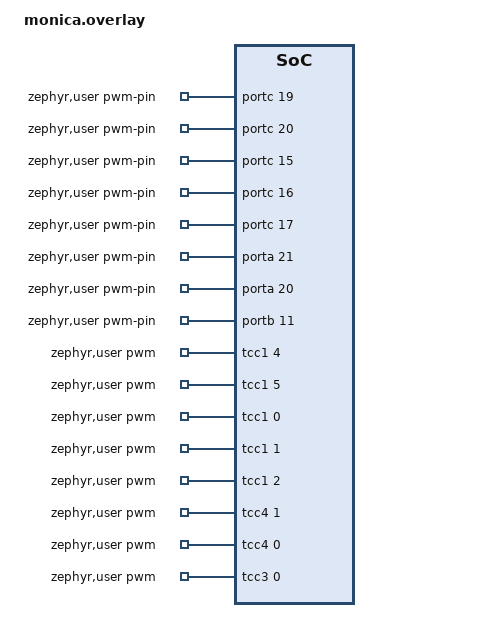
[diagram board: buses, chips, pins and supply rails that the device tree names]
/*
 * Copyright (c) 2026 Arduino SA
 *
 * SPDX-License-Identifier: Apache-2.0
 */

/*
 * Nano Chandler "Monica" carrier - devicetree delta.
 *
 * Monica is not a Zephyr board variant: it is the plain arduino_nano_chandler
 * board plus the "nano_chandler_monica" shield. Zephyr applies overlays in the
 * order
 *
 *     board .dts -> shield overlays -> DTC_OVERLAY_FILE -> EXTRA_DTC_OVERLAY_FILE
 *
 * so the shield cannot override this variant's overlay (that one *is*
 * DTC_OVERLAY_FILE). Everything the carrier has to take back from the bare
 * module therefore lives here, and this file is passed as
 * EXTRA_DTC_OVERLAY_FILE from nano_chandler_monica.build.zephyr_args in
 * boards.txt. The purely additive part - the esp8266 node itself - stays in
 * the shield.
 */

#include <zephyr/dt-bindings/pwm/pwm.h>

/*
 * UART1 (sercom1) is hard-wired on this carrier to the ESP8266 WiFi module's
 * AT-command UART (via 0R bridge resistors) - it can no longer double as a
 * user UART like it does on the bare Nano Chandler module. The ESP-AT driver
 * binds at boot, so the bare module's deferred init must go.
 */
&sercom1 {
	/delete-property/ zephyr,deferred-init;
};

/*
 * PD11 (D7) is dedicated to the ESP8266 reset line on this carrier (see the
 * shield's esp8266 node) and must never be muxed away from plain GPIO to the
 * TCC2 PWM function: drop the "arduino" pinctrl state the bare module defines.
 */
&tcc2 {
	/delete-property/ pinctrl-2;
	pinctrl-names = "default", "sleep";
};

/*
 * sercom6 is the only console here: unlike the bare module, log output is not
 * mirrored on USB CDC, and the shell lives on the same UART.
 */
&log_uarts {
	uarts = <&sercom6>;
};

/ {
	chosen {
		zephyr,console = &sercom6;
		zephyr,shell-uart = &sercom6;
	};

	zephyr,user {
		/*
		 * sercom1 intentionally excluded: dedicated to the ESP8266 AT UART,
		 * not exposed as a generic Arduino Serial object. Serial1 = sercom6
		 * (user header, also the debug console), Serial2 = sercom0 (RS485).
		 */
		serials = <&sercom6>, <&sercom0>;

		/* D7 (&portd 11) intentionally excluded: dedicated ESP8266 reset line. */
		pwm-pin-gpios = <&portc 19 0>,
				<&portc 20 0>,
				<&portc 15 0>,
				<&portc 16 0>,
				<&portc 17 0>,
				<&porta 21 0>,
				<&porta 20 0>,
				<&portb 11 0>,
				<&porta 23 0>,
				<&portb 24 0>;

		pwms = <&tcc1 4 PWM_HZ(500) 0>,
		       <&tcc1 5 PWM_HZ(500) 0>,
		       <&tcc1 0 PWM_HZ(500) PWM_POLARITY_INVERTED>,
		       <&tcc1 1 PWM_HZ(500) PWM_POLARITY_INVERTED>,
		       <&tcc1 2 PWM_HZ(500) PWM_POLARITY_INVERTED>,
		       <&tcc4 1 PWM_HZ(500) 0>,
		       <&tcc4 0 PWM_HZ(500) 0>,
		       <&tcc3 0 PWM_HZ(500) 0>,
		       <&tcc5 1 PWM_HZ(500) 0>,
		       <&tcc6 1 PWM_HZ(500) 0>;
	};
};
